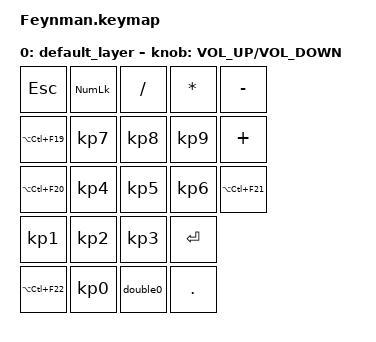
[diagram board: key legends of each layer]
#include <behaviors.dtsi>
#include <dt-bindings/zmk/bt.h>
#include <dt-bindings/zmk/keys.h>

&left_encoder { status = "okay"; };

#define DEFAULT 0

/ {
    macros {
        double0: double0 {
            compatible = "zmk,behavior-macro";
            #binding-cells = <0>;
            bindings = <&kp N0 &kp N0>;
            label = "DOUBLE0";
        };

        M1: M1 {
            compatible = "zmk,behavior-macro";
            #binding-cells = <0>;
            bindings = <&kp LC(LA(F22))>;
            label = "M1";
        };
    };

    combos {
        compatible = "zmk,combos";

        BTCLEAR {
            bindings = <&bt BT_CLR_ALL>;
            key-positions = <4 1>;
        };

        BT_1 {
            bindings = <&bt BT_SEL 0>;
            key-positions = <1 20>;
        };

        BT_2 {
            bindings = <&bt BT_SEL 1>;
            key-positions = <1 21>;
        };

        Lock {
            bindings = <&kp LG(L)>;
            key-positions = <1 5>;
        };
    };

    keymap {
        compatible = "zmk,keymap";

        default_layer {
            bindings = <
&kp ESC          &kp KP_NUMLOCK  &kp SLASH  &kp STAR    &kp MINUS
&kp LA(LC(F19))  &kp KP_N7       &kp KP_N8  &kp KP_N9   &kp PLUS
&kp LA(LC(F20))  &kp KP_N4       &kp KP_N5  &kp KP_N6   &kp LA(LC(F21))
&kp KP_N1        &kp KP_N2       &kp KP_N3  &kp ENTER
&kp LA(LC(F22))  &kp KP_N0       &double0   &kp PERIOD
            >;

            sensor-bindings = <&inc_dec_kp C_VOLUME_UP C_VOLUME_DOWN>;
        };
    };
};
